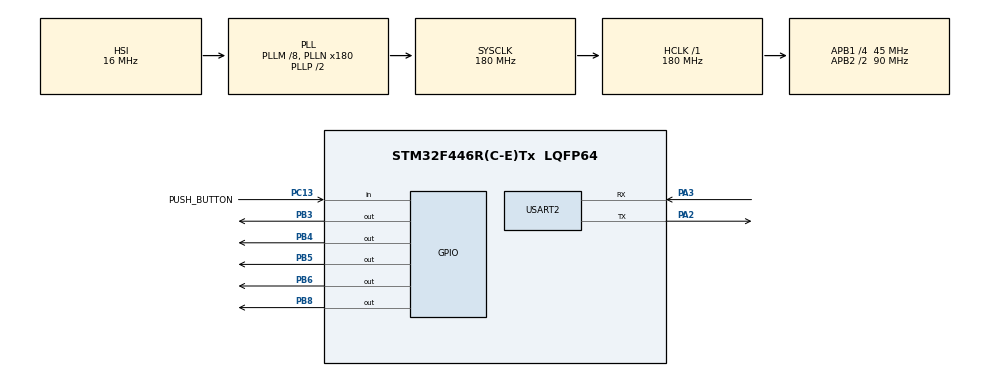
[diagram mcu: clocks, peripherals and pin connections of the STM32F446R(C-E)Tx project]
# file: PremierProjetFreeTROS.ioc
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FREERTOS.Tasks01=Task1,24,128,StartTask1,Default,NULL,Dynamic,NULL,NULL;Task2,24,128,StartTask2,Default,NULL,Dynamic,NULL,NULL;Task3,24,128,StartTask3,Default,NULL,Dynamic,NULL,NULL
FREERTOS.configUSE_NEWLIB_REENTRANT=1
Mcu.Family=STM32F4
Mcu.Name=STM32F446R(C-E)Tx
Mcu.Package=LQFP64
NVIC.PriorityGroup=NVIC_PRIORITYGROUP_4
NVIC.TIM6_DAC_IRQn=true\:15\:0\:false\:false\:true\:false\:false\:true\:true
NVIC.TimeBase=TIM6_DAC_IRQn
NVIC.TimeBaseIP=TIM6
PA13.Mode=Serial_Wire
PA13.Signal=SYS_JTMS-SWDIO
PA14.Mode=Serial_Wire
PA14.Signal=SYS_JTCK-SWCLK
PA2.Mode=Asynchronous
PA2.Signal=USART2_TX
PA3.Mode=Asynchronous
PA3.Signal=USART2_RX
PB3.Signal=GPIO_Output
PB4.Signal=GPIO_Output
PB5.Signal=GPIO_Output
PB6.Signal=GPIO_Output
PB8.Signal=GPIO_Output
PC13.GPIO_Label=PUSH_BUTTON
PC13.GPIO_PuPd=GPIO_NOPULL
PC13.Signal=GPIO_Input
PH0-OSC_IN.Mode=HSE-External-Oscillator
PH0-OSC_IN.Signal=RCC_OSC_IN
PH1-OSC_OUT.Mode=HSE-External-Oscillator
PH1-OSC_OUT.Signal=RCC_OSC_OUT
ProjectManager.HeapSize=0x200
ProjectManager.StackSize=0x400
ProjectManager.TargetToolchain=STM32CubeIDE
RCC.48MHZClocksFreq_Value=84000000
RCC.AHBFreq_Value=180000000
RCC.APB1CLKDivider=RCC_HCLK_DIV4
RCC.APB1Freq_Value=45000000
RCC.APB1TimFreq_Value=90000000
RCC.APB2CLKDivider=RCC_HCLK_DIV2
RCC.APB2Freq_Value=90000000
RCC.APB2TimFreq_Value=180000000
RCC.CortexFreq_Value=180000000
RCC.FLatency-AdvancedSettings=FLASH_LATENCY_5
RCC.HCLKFreq_Value=180000000
RCC.HSE_VALUE=8000000
RCC.HSI_VALUE=16000000
RCC.PLLM=8
RCC.PLLN=180
RCC.SYSCLKFreq_VALUE=180000000
RCC.SYSCLKSource=RCC_SYSCLKSOURCE_PLLCLK
RCC.USBFreq_Value=180000000
RCC.VCOOutputFreq_Value=360000000
USART2.VirtualMode=VM_ASYNC
VP_FREERTOS_VS_CMSIS_V2.Mode=CMSIS_V2
VP_SYS_VS_tim6.Mode=TIM6
board=NUCLEO-F446RE

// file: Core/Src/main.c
/* USER CODE BEGIN Header */
/**
  ******************************************************************************
  * @file           : main.c
  * @brief          : Main program body
  ******************************************************************************
  * @attention
  *
  * Copyright (c) 2024 STMicroelectronics.
  * All rights reserved.
  *
  * This software is licensed under terms that can be found in the LICENSE file
  * in the root directory of this software component.
  * If no LICENSE file comes with this software, it is provided AS-IS.
  *
  ******************************************************************************
  */
/* USER CODE END Header */
#include "main.h"
#include "cmsis_os.h"

UART_HandleTypeDef huart2;

/* Definitions for Task1 */
osThreadId_t Task1Handle;
const osThreadAttr_t Task1_attributes = {
  .name = "Task1",
  .stack_size = 128 * 4,
  .priority = (osPriority_t) osPriorityNormal,
};
/* Definitions for Task2 */
osThreadId_t Task2Handle;
const osThreadAttr_t Task2_attributes = {
  .name = "Task2",
  .stack_size = 128 * 4,
  .priority = (osPriority_t) osPriorityNormal,
};
/* Definitions for Task3 */
osThreadId_t Task3Handle;
const osThreadAttr_t Task3_attributes = {
  .name = "Task3",
  .stack_size = 128 * 4,
  .priority = (osPriority_t) osPriorityNormal,
};
/* USER CODE BEGIN PV */
osThreadId_t Task4Handle;
const osThreadAttr_t Task4_attributes = {
  .name = "Task4",
  .stack_size = 128 * 4,
  .priority = (osPriority_t) osPriorityNormal,
};

osThreadId_t Task5Handle;
const osThreadAttr_t Task5_attributes = {
  .name = "Task5",
  .stack_size = 128 * 4,
  .priority = (osPriority_t) osPriorityNormal,
};
osThreadId_t ButtonTaskHandle;
const osThreadAttr_t ButtonTask_attributes = {
  .name = "ButtonTask",
  .stack_size = 128 * 4,
  .priority = (osPriority_t) osPriorityHigh,
};
uint32_t lastButtonPress = 0xff000000;
/* USER CODE END PV */

void SystemClock_Config(void);
static void MX_GPIO_Init(void);
static void MX_USART2_UART_Init(void);
void StartTask1(void *argument);
void StartTask2(void *argument);
void StartTask3(void *argument);

/* USER CODE BEGIN PFP */
void StartTask4(void *argument);
void StartTask5(void *argument);
void StartButtonTask(void *argument);
/* USER CODE END PFP */

/* USER CODE BEGIN 0 */
uint8_t dataTask1[] = "Hi, Task1\r\n";
uint8_t dataTask2[] = "Hello, Task2\r\n";
uint8_t dataTask3[] = "Great, Task3\r\n";

/* USER CODE END 0 */

int main(void)
{

  /* MCU Configuration--------------------------------------------------------*/

  /* Reset of all peripherals, Initializes the Flash interface and the Systick. */
  HAL_Init();

  /* Configure the system clock */
  SystemClock_Config();

  /* Initialize all configured peripherals */
  MX_GPIO_Init();
  MX_USART2_UART_Init();

  /* Init scheduler */
  osKernelInitialize();

  /* Create the thread(s) */
  /* creation of Task1 */
  Task1Handle = osThreadNew(StartTask1, NULL, &Task1_attributes);

  /* creation of Task2 */
  Task2Handle = osThreadNew(StartTask2, NULL, &Task2_attributes);

  /* creation of Task3 */
  Task3Handle = osThreadNew(StartTask3, NULL, &Task3_attributes);

  /* USER CODE BEGIN RTOS_THREADS */

  /* creation of Task4 */
  Task4Handle = osThreadNew(StartTask4, NULL, &Task4_attributes);

  /* creation of Task5 */
  Task5Handle = osThreadNew(StartTask5, NULL, &Task5_attributes);

  ButtonTaskHandle = osThreadNew(StartButtonTask, NULL, &ButtonTask_attributes);
  /* add threads, ... */
  /* USER CODE END RTOS_THREADS */

  /* Start scheduler */
  osKernelStart();

  /* We should never get here as control is now taken by the scheduler */
  /* Infinite loop */
  while (1)
  {

    /* USER CODE BEGIN 3 */
	  //HAL_UART_Transmit(&huart2, dataTask1, 7, 1000);
	  //HAL_Delay(1000);

  }
  /* USER CODE END 3 */
}

void SystemClock_Config(void)
{
  RCC_OscInitTypeDef RCC_OscInitStruct = {0};
  RCC_ClkInitTypeDef RCC_ClkInitStruct = {0};

  /** Configure the main internal regulator output voltage
  */
  __HAL_RCC_PWR_CLK_ENABLE();
  __HAL_PWR_VOLTAGESCALING_CONFIG(PWR_REGULATOR_VOLTAGE_SCALE1);

  /** Initializes the RCC Oscillators according to the specified parameters
  * in the RCC_OscInitTypeDef structure.
  */
  RCC_OscInitStruct.OscillatorType = RCC_OSCILLATORTYPE_HSI;
  RCC_OscInitStruct.HSIState = RCC_HSI_ON;
  RCC_OscInitStruct.HSICalibrationValue = RCC_HSICALIBRATION_DEFAULT;
  RCC_OscInitStruct.PLL.PLLState = RCC_PLL_ON;
  RCC_OscInitStruct.PLL.PLLSource = RCC_PLLSOURCE_HSI;
  RCC_OscInitStruct.PLL.PLLM = 8;
  RCC_OscInitStruct.PLL.PLLN = 180;
  RCC_OscInitStruct.PLL.PLLP = RCC_PLLP_DIV2;
  RCC_OscInitStruct.PLL.PLLQ = 2;
  RCC_OscInitStruct.PLL.PLLR = 2;
  if (HAL_RCC_OscConfig(&RCC_OscInitStruct) != HAL_OK)
  {
    Error_Handler();
  }

  /** Activate the Over-Drive mode
  */
  if (HAL_PWREx_EnableOverDrive() != HAL_OK)
  {
    Error_Handler();
  }

  /** Initializes the CPU, AHB and APB buses clocks
  */
  RCC_ClkInitStruct.ClockType = RCC_CLOCKTYPE_HCLK|RCC_CLOCKTYPE_SYSCLK
                              |RCC_CLOCKTYPE_PCLK1|RCC_CLOCKTYPE_PCLK2;
  RCC_ClkInitStruct.SYSCLKSource = RCC_SYSCLKSOURCE_PLLCLK;
  RCC_ClkInitStruct.AHBCLKDivider = RCC_SYSCLK_DIV1;
  RCC_ClkInitStruct.APB1CLKDivider = RCC_HCLK_DIV4;
  RCC_ClkInitStruct.APB2CLKDivider = RCC_HCLK_DIV2;

  if (HAL_RCC_ClockConfig(&RCC_ClkInitStruct, FLASH_LATENCY_5) != HAL_OK)
  {
    Error_Handler();
  }
}

static void MX_USART2_UART_Init(void)
{

  huart2.Instance = USART2;
  huart2.Init.BaudRate = 115200;
  huart2.Init.WordLength = UART_WORDLENGTH_8B;
  huart2.Init.StopBits = UART_STOPBITS_1;
  huart2.Init.Parity = UART_PARITY_NONE;
  huart2.Init.Mode = UART_MODE_TX_RX;
  huart2.Init.HwFlowCtl = UART_HWCONTROL_NONE;
  huart2.Init.OverSampling = UART_OVERSAMPLING_16;
  if (HAL_UART_Init(&huart2) != HAL_OK)
  {
    Error_Handler();
  }

}

static void MX_GPIO_Init(void)
{
  GPIO_InitTypeDef GPIO_InitStruct = {0};

  /* GPIO Ports Clock Enable */
  __HAL_RCC_GPIOC_CLK_ENABLE();
  __HAL_RCC_GPIOH_CLK_ENABLE();
  __HAL_RCC_GPIOA_CLK_ENABLE();
  __HAL_RCC_GPIOB_CLK_ENABLE();

  /*Configure GPIO pin Output Level */
  HAL_GPIO_WritePin(GPIOB, GPIO_PIN_3|GPIO_PIN_4|GPIO_PIN_5|GPIO_PIN_6
                          |GPIO_PIN_8, GPIO_PIN_RESET);

  /*Configure GPIO pin : PUSH_BUTTON_Pin */
  GPIO_InitStruct.Pin = PUSH_BUTTON_Pin;
  GPIO_InitStruct.Mode = GPIO_MODE_INPUT;
  GPIO_InitStruct.Pull = GPIO_NOPULL;
  HAL_GPIO_Init(PUSH_BUTTON_GPIO_Port, &GPIO_InitStruct);

  /*Configure GPIO pins : PB3 PB4 PB5 PB6
                           PB8 */
  GPIO_InitStruct.Pin = GPIO_PIN_3|GPIO_PIN_4|GPIO_PIN_5|GPIO_PIN_6
                          |GPIO_PIN_8;
  GPIO_InitStruct.Mode = GPIO_MODE_OUTPUT_PP;
  GPIO_InitStruct.Pull = GPIO_NOPULL;
  GPIO_InitStruct.Speed = GPIO_SPEED_FREQ_LOW;
  HAL_GPIO_Init(GPIOB, &GPIO_InitStruct);

}

/* USER CODE BEGIN 4 */
uint8_t hasTimePassed(uint32_t delay) {
	 uint32_t currentTime = xTaskGetTickCount();
	 if (currentTime > lastButtonPress) {
		 return currentTime - lastButtonPress > delay;
	 } else {
		 return lastButtonPress - currentTime > delay;
	 }
}

void StartButtonTask(void *argument)
{
  /* Infinite loop */
  for(;;)
  {
	  if (HAL_GPIO_ReadPin(PUSH_BUTTON_GPIO_Port, PUSH_BUTTON_Pin) == GPIO_PIN_RESET) {
		  lastButtonPress = xTaskGetTickCount();
	  }
	  osDelay(100);
  }
}

void StartTask4(void *argument)
{
  /* Infinite loop */
  for(;;)
  {
//	  HAL_UART_Transmit(&huart2, dataTask4, sizeof(dataTask4), 1000);
	  if ((hasTimePassed(0) && !hasTimePassed(4000)) || hasTimePassed(14000)) {
		  HAL_GPIO_WritePin(GPIOB, GPIO_PIN_8, GPIO_PIN_SET);
	  } else {
		  HAL_GPIO_WritePin(GPIOB, GPIO_PIN_8, GPIO_PIN_RESET);
	  }
	  osDelay(100);

  }
}

void StartTask5(void *argument)
{
  /* Infinite loop */
  for(;;)
  {
//	  HAL_UART_Transmit(&huart2, dataTask5, sizeof(dataTask5), 1000);
	  if (hasTimePassed(4000) && !hasTimePassed(14000)) {
		  HAL_GPIO_WritePin(GPIOB, GPIO_PIN_6, GPIO_PIN_SET);
	  } else {
		  HAL_GPIO_WritePin(GPIOB, GPIO_PIN_6, GPIO_PIN_RESET);
	  }
	  osDelay(100);
  }
}

/* USER CODE END 4 */

void StartTask1(void *argument)
{
  /* USER CODE BEGIN 5 */
  /* Infinite loop */
  for(;;)
  {
	  HAL_UART_Transmit(&huart2, dataTask1, sizeof(dataTask1), 1000);
	  if (hasTimePassed(3000) && !hasTimePassed(17000)) {
		  HAL_GPIO_WritePin(GPIOB, GPIO_PIN_5, GPIO_PIN_SET);
	  } else {
		  HAL_GPIO_WritePin(GPIOB, GPIO_PIN_5, GPIO_PIN_RESET);
	  }
	  osDelay(100);
  }
  /* USER CODE END 5 */
}

void StartTask2(void *argument)
{
  /* USER CODE BEGIN StartTask2 */
  /* Infinite loop */
  for(;;)
  {
	  HAL_UART_Transmit(&huart2, dataTask2, sizeof(dataTask2), 1000);
	  if ((hasTimePassed(0) && !hasTimePassed(3000)) || (hasTimePassed(15000) && !hasTimePassed(17000))) {
		  HAL_GPIO_WritePin(GPIOB, GPIO_PIN_4, GPIO_PIN_SET);
	  } else {
		  HAL_GPIO_WritePin(GPIOB, GPIO_PIN_4, GPIO_PIN_RESET);
	  }
	  osDelay(100);
  }
  /* USER CODE END StartTask2 */
}

void StartTask3(void *argument)
{
  /* USER CODE BEGIN StartTask3 */
  /* Infinite loop */
  for(;;)
  {
	  HAL_UART_Transmit(&huart2, dataTask3, sizeof(dataTask3), 1000);
	 	 // HAL_GPIO_WritePin(GPIOB, GPIO_PIN_3|GPIO_PIN_4|GPIO_PIN_5, GPIO_PIN_RESET);
	  if (hasTimePassed(17000)) {
		  HAL_GPIO_WritePin(GPIOB, GPIO_PIN_3, GPIO_PIN_SET);
	  } else {
		  HAL_GPIO_WritePin(GPIOB, GPIO_PIN_3, GPIO_PIN_RESET);
	  }
	  osDelay(100);
  }
  /* USER CODE END StartTask3 */
}

void HAL_TIM_PeriodElapsedCallback(TIM_HandleTypeDef *htim)
{
  if (htim->Instance == TIM6) {
    HAL_IncTick();
  }
}

void Error_Handler(void)
{
  __disable_irq();
  while (1)
  {
  }
}
